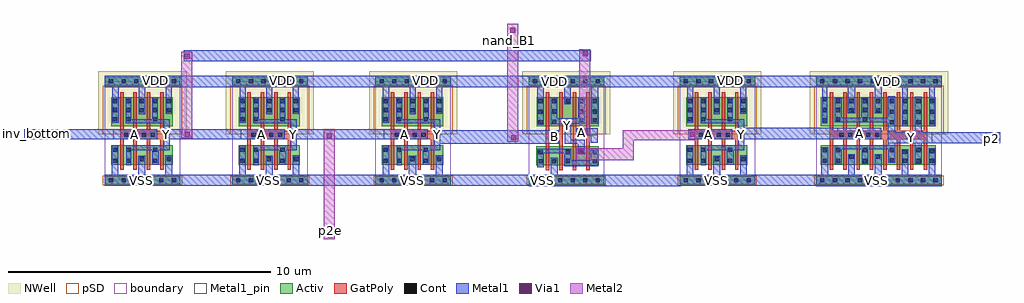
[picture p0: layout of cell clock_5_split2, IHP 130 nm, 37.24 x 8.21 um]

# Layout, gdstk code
import gdstk
lib = gdstk.Library(unit=1e-6, precision=1e-09)
def R(c, l, rs):  # rectangles x0, y0, x1, y1
    for r in rs: c.add(gdstk.rectangle(r[:2], r[2:], *l))
def A(c, l, x, y, w, h, nx, ny, dx, dy):  # array of equal rectangles
    R(c, l, [(x+i*dx, y+j*dy, x+i*dx+w, y+j*dy+h) for i in range(nx) for j in range(ny)])
def P(c, l, *ps):  # polygons
    for p in ps: c.add(gdstk.Polygon(p, *l))
Activ = (1, 0)
GatPoly = (5, 0)
Cont = (6, 0)
Metal1 = (8, 0)
Metal1_pin = (8, 2)
Metal2 = (10, 0)
pSD = (14, 0)
Via1 = (19, 0)
NWell = (31, 0)
boundary = (189, 4)

clock_5_split2 = lib.new_cell('clock_5_split2')
R(clock_5_split2, Activ, [(0,-0.15,2.88,0.15), (4.857,-0.15,7.737,0.15), (10.326,-0.15,13.206,0.15), (16.171,-0.15,19.051,0.15), (21.93,-0.15,24.81,0.15), (27.136,-0.15,31.936,0.15), (16.456,0.575,18.841,1.295), (0.245,0.59,2.585,1.33), (5.102,0.59,7.442,1.33), (10.571,0.59,12.911,1.33), (22.175,0.59,24.515,1.33), (27.321,0.59,31.711,1.33), (0.245,2.06,2.585,3.18), (5.102,2.06,7.442,3.18), (10.571,2.06,12.911,3.18), (16.471,2.06,18.851,3.18), (22.175,2.06,24.515,3.18), (27.321,2.06,31.711,3.18), (0,3.63,2.88,3.93), (4.857,3.63,7.737,3.93), (10.326,3.63,13.206,3.93), (16.171,3.63,19.051,3.93), (21.93,3.63,24.81,3.93), (27.136,3.63,31.936,3.93)])
P(clock_5_split2, GatPoly, [(27.661,0.41),(27.661,3.36),(27.791,3.36),(27.791,1.9),(28.171,1.9),(28.171,3.36),(28.301,3.36),(28.301,1.9),(28.681,1.9),(28.681,3.36),(28.811,3.36),(28.811,1.9),(29.191,1.9),(29.191,3.36),(29.321,3.36),(29.321,1.9),(29.701,1.9),(29.701,3.36),(29.831,3.36),(29.831,1.9),(30.211,1.9),(30.211,3.36),(30.341,3.36),(30.341,1.9),(30.721,1.9),(30.721,3.36),(30.851,3.36),(30.851,1.9),(31.241,1.9),(31.241,3.36),(31.371,3.36),(31.371,0.41),(31.241,0.41),(31.241,1.57),(30.851,1.57),(30.851,0.41),(30.721,0.41),(30.721,1.57),(30.341,1.57),(30.341,0.41),(30.211,0.41),(30.211,1.57),(29.831,1.57),(29.831,0.41),(29.701,0.41),(29.701,1.57),(29.321,1.57),(29.321,0.41),(29.191,0.41),(29.191,1.57),(28.811,1.57),(28.811,0.41),(28.681,0.41),(28.681,1.57),(28.301,1.57),(28.301,0.41),(28.171,0.41),(28.171,1.57),(27.791,1.57),(27.791,0.41)],
  [(17.861,0.395),(17.861,3.36),(17.991,3.36),(17.991,1.99),(18.371,1.99),(18.371,3.36),(18.501,3.36),(18.501,0.395),(18.371,0.395),(18.371,1.685),(17.991,1.685),(17.991,0.395)],
  [(16.831,0.395),(16.831,3.36),(16.961,3.36),(16.961,1.875),(17.341,1.875),(17.341,3.36),(17.471,3.36),(17.471,0.395),(17.341,0.395),(17.341,1.565),(16.961,1.565),(16.961,0.395)],
  [(0.585,0.41),(0.585,3.36),(0.715,3.36),(0.715,1.9),(1.095,1.9),(1.095,3.36),(1.225,3.36),(1.225,1.9),(1.605,1.9),(1.605,3.36),(1.735,3.36),(1.735,1.9),(2.115,1.9),(2.115,3.36),(2.245,3.36),(2.245,0.41),(2.115,0.41),(2.115,1.57),(1.735,1.57),(1.735,0.41),(1.605,0.41),(1.605,1.57),(1.225,1.57),(1.225,0.41),(1.095,0.41),(1.095,1.57),(0.715,1.57),(0.715,0.41)],
  [(5.442,0.41),(5.442,3.36),(5.572,3.36),(5.572,1.9),(5.952,1.9),(5.952,3.36),(6.082,3.36),(6.082,1.9),(6.462,1.9),(6.462,3.36),(6.592,3.36),(6.592,1.9),(6.972,1.9),(6.972,3.36),(7.102,3.36),(7.102,0.41),(6.972,0.41),(6.972,1.57),(6.592,1.57),(6.592,0.41),(6.462,0.41),(6.462,1.57),(6.082,1.57),(6.082,0.41),(5.952,0.41),(5.952,1.57),(5.572,1.57),(5.572,0.41)],
  [(10.911,0.41),(10.911,3.36),(11.041,3.36),(11.041,1.9),(11.421,1.9),(11.421,3.36),(11.551,3.36),(11.551,1.9),(11.931,1.9),(11.931,3.36),(12.061,3.36),(12.061,1.9),(12.441,1.9),(12.441,3.36),(12.571,3.36),(12.571,0.41),(12.441,0.41),(12.441,1.57),(12.061,1.57),(12.061,0.41),(11.931,0.41),(11.931,1.57),(11.551,1.57),(11.551,0.41),(11.421,0.41),(11.421,1.57),(11.041,1.57),(11.041,0.41)],
  [(22.515,0.41),(22.515,3.36),(22.645,3.36),(22.645,1.9),(23.025,1.9),(23.025,3.36),(23.155,3.36),(23.155,1.9),(23.535,1.9),(23.535,3.36),(23.665,3.36),(23.665,1.9),(24.045,1.9),(24.045,3.36),(24.175,3.36),(24.175,0.41),(24.045,0.41),(24.045,1.57),(23.665,1.57),(23.665,0.41),(23.535,0.41),(23.535,1.57),(23.155,1.57),(23.155,0.41),(23.025,0.41),(23.025,1.57),(22.645,1.57),(22.645,0.41)])
A(clock_5_split2, Cont, 0.16, -0.08, 0.16, 0.16, 6, 2, 0.48, 3.78)
A(clock_5_split2, Cont, 5.017, -0.08, 0.16, 0.16, 6, 2, 0.48, 3.78)
A(clock_5_split2, Cont, 10.486, -0.08, 0.16, 0.16, 6, 2, 0.48, 3.78)
A(clock_5_split2, Cont, 16.331, -0.08, 0.16, 0.16, 6, 2, 0.48, 3.78)
A(clock_5_split2, Cont, 22.09, -0.08, 0.16, 0.16, 6, 2, 0.48, 3.78)
A(clock_5_split2, Cont, 27.296, -0.08, 0.16, 0.16, 10, 2, 0.48, 3.78)
A(clock_5_split2, Cont, 27.901, 1.08, 0.16, 0.16, 4, 1, 1.02, 0)
A(clock_5_split2, Cont, 0.735, 1.655, 0.16, 0.16, 4, 1, 0.34, 0)
A(clock_5_split2, Cont, 5.592, 1.655, 0.16, 0.16, 4, 1, 0.34, 0)
A(clock_5_split2, Cont, 11.061, 1.655, 0.16, 0.16, 4, 1, 0.34, 0)
A(clock_5_split2, Cont, 22.665, 1.655, 0.16, 0.16, 4, 1, 0.34, 0)
A(clock_5_split2, Cont, 28.026, 1.655, 0.16, 0.16, 5, 1, 0.34, 0)
A(clock_5_split2, Cont, 29.941, 2.14, 0.16, 0.16, 3, 2, 0.51, 0.4)
A(clock_5_split2, Cont, 17.071, 2.15, 0.16, 0.16, 1, 3, 0, 0.4)
A(clock_5_split2, Cont, 0.315, 2.945, 0.16, 0.16, 5, 1, 0.51, 0)
A(clock_5_split2, Cont, 5.172, 2.945, 0.16, 0.16, 5, 1, 0.51, 0)
A(clock_5_split2, Cont, 10.641, 2.945, 0.16, 0.16, 5, 1, 0.51, 0)
A(clock_5_split2, Cont, 22.245, 2.945, 0.16, 0.16, 5, 1, 0.51, 0)
A(clock_5_split2, Cont, 27.901, 2.945, 0.16, 0.16, 7, 1, 0.51, 0)
R(clock_5_split2, Cont, [(17.071,0.645,17.231,0.805), (16.551,0.65,16.711,0.81), (18.611,0.65,18.771,0.81), (17.581,0.66,17.741,0.82), (0.315,0.665,0.475,0.825), (0.825,0.665,0.985,0.825), (1.845,0.665,2.005,0.825), (5.172,0.665,5.332,0.825), (5.682,0.665,5.842,0.825), (6.702,0.665,6.862,0.825), (10.641,0.665,10.801,0.825), (11.151,0.665,11.311,0.825), (12.171,0.665,12.331,0.825), (22.245,0.665,22.405,0.825), (22.755,0.665,22.915,0.825), (23.775,0.665,23.935,0.825), (30.451,0.665,30.611,0.825), (27.391,0.67,27.551,0.83), (27.901,0.67,28.061,0.83), (28.921,0.67,29.081,0.83), (30.961,0.67,31.121,0.83), (31.481,0.67,31.641,0.83), (29.941,0.675,30.101,0.835), (1.335,0.735,1.495,0.895), (2.355,0.735,2.515,0.895), (6.192,0.735,6.352,0.895), (7.212,0.735,7.372,0.895), (11.661,0.735,11.821,0.895), (12.681,0.735,12.841,0.895), (23.265,0.735,23.425,0.895), (24.285,0.735,24.445,0.895), (28.411,0.815,28.571,0.975), (29.431,0.815,29.591,0.975), (16.546,0.99,16.706,1.15), (18.611,0.99,18.771,1.15), (17.581,1.005,17.741,1.165), (30.451,1.015,30.611,1.175), (31.481,1.025,31.641,1.185), (18.101,1.05,18.261,1.21), (27.391,1.08,27.551,1.24), (0.315,1.09,0.475,1.25), (0.825,1.09,0.985,1.25), (1.845,1.09,2.005,1.25), (5.172,1.09,5.332,1.25), (5.682,1.09,5.842,1.25), (6.702,1.09,6.862,1.25), (10.641,1.09,10.801,1.25), (11.151,1.09,11.311,1.25), (12.171,1.09,12.331,1.25), (22.245,1.09,22.405,1.25), (22.755,1.09,22.915,1.25), (23.775,1.09,23.935,1.25), (17.071,1.64,17.231,1.8), (18.101,1.76,18.261,1.92), (16.541,2.14,16.701,2.3), (31.481,2.14,31.641,2.3), (27.391,2.207,27.551,2.367), (18.101,2.21,18.261,2.37), (18.611,2.21,18.771,2.37), (0.315,2.255,0.475,2.415), (0.825,2.255,0.985,2.415), (1.845,2.255,2.005,2.415), (5.172,2.255,5.332,2.415), (5.682,2.255,5.842,2.415), (6.702,2.255,6.862,2.415), (10.641,2.255,10.801,2.415), (11.151,2.255,11.311,2.415), (12.171,2.255,12.331,2.415), (22.245,2.255,22.405,2.415), (22.755,2.255,22.915,2.415), (23.775,2.255,23.935,2.415), (27.901,2.255,28.061,2.415), (28.921,2.255,29.081,2.415), (16.541,2.54,16.701,2.7), (31.481,2.54,31.641,2.7), (18.101,2.55,18.261,2.71), (18.611,2.55,18.771,2.71), (1.335,2.595,1.495,2.755), (2.355,2.595,2.515,2.755), (6.192,2.595,6.352,2.755), (7.212,2.595,7.372,2.755), (11.661,2.595,11.821,2.755), (12.681,2.595,12.841,2.755), (23.265,2.595,23.425,2.755), (24.285,2.595,24.445,2.755), (28.411,2.595,28.571,2.755), (29.431,2.595,29.591,2.755), (0.315,2.605,0.475,2.765), (0.825,2.605,0.985,2.765), (1.845,2.605,2.005,2.765), (5.172,2.605,5.332,2.765), (5.682,2.605,5.842,2.765), (6.702,2.605,6.862,2.765), (10.641,2.605,10.801,2.765), (11.151,2.605,11.311,2.765), (12.171,2.605,12.331,2.765), (22.245,2.605,22.405,2.765), (22.755,2.605,22.915,2.765), (23.775,2.605,23.935,2.765), (27.901,2.605,28.061,2.765), (28.921,2.605,29.081,2.765), (27.391,2.607,27.551,2.767), (31.481,2.945,31.641,3.105), (16.541,2.95,16.701,3.11), (17.581,2.95,17.741,3.11), (18.101,2.95,18.261,3.11), (18.611,2.95,18.771,3.11), (27.391,3.012,27.551,3.172)])
R(clock_5_split2, Metal1, [(-3.082,1.57,2,1.95), (22.255,1.57,23.93,1.95), (3.005,4.542,18.543,4.955)])
P(clock_5_split2, Metal1, [(30.426,2.055),(30.426,3.56),(29.651,3.56),(29.651,2.56),(29.381,2.56),(29.381,3.56),(28.631,3.56),(28.631,2.565),(28.351,2.565),(28.351,3.56),(27.571,3.56),(27.571,2.185),(27.376,2.185),(27.376,3.56),(24.48,3.56),(24.48,2.54),(24.25,2.54),(24.25,3.56),(23.47,3.56),(23.47,2.53),(23.23,2.53),(23.23,3.56),(22.46,3.56),(22.46,2.19),(22.215,2.19),(22.215,3.56),(18.821,3.56),(18.821,2.16),(18.561,2.16),(18.561,3.56),(17.781,3.56),(17.781,2.9),(17.521,2.9),(17.521,3.56),(16.751,3.56),(16.751,2.125),(16.491,2.125),(16.491,3.56),(12.876,3.56),(12.876,2.54),(12.646,2.54),(12.646,3.56),(11.866,3.56),(11.866,2.53),(11.626,2.53),(11.626,3.56),(10.856,3.56),(10.856,2.19),(10.611,2.19),(10.611,3.56),(7.407,3.56),(7.407,2.54),(7.177,2.54),(7.177,3.56),(6.397,3.56),(6.397,2.53),(6.157,2.53),(6.157,3.56),(5.387,3.56),(5.387,2.19),(5.142,2.19),(5.142,3.56),(2.55,3.56),(2.55,2.54),(2.32,2.54),(2.32,3.56),(1.54,3.56),(1.54,2.53),(1.3,2.53),(1.3,3.56),(0.53,3.56),(0.53,2.19),(0.285,2.19),(0.285,3.56),(0,3.56),(0,4),(31.936,4),(31.936,3.56),(31.666,3.56),(31.666,2.065),(31.456,2.065),(31.456,3.56),(30.636,3.56),(30.636,2.055)],
  [(0.815,0.57),(0.815,1.34),(2.245,1.34),(2.245,2.17),(0.8,2.17),(0.8,3.18),(1.015,3.18),(1.015,2.34),(1.815,2.34),(1.815,3.175),(2.03,3.175),(2.03,2.34),(2.475,2.34),(2.475,1.95),(6.857,1.95),(6.857,1.57),(2.475,1.57),(2.475,1.145),(2.06,1.145),(2.06,0.595),(1.805,0.595),(1.805,1.145),(1.01,1.145),(1.01,0.57)],
  [(5.672,0.57),(5.672,1.34),(7.102,1.34),(7.102,2.17),(5.657,2.17),(5.657,3.18),(5.872,3.18),(5.872,2.34),(6.672,2.34),(6.672,3.175),(6.887,3.175),(6.887,2.34),(7.332,2.34),(7.332,1.95),(12.326,1.95),(12.326,1.57),(7.332,1.57),(7.332,1.145),(6.917,1.145),(6.917,0.595),(6.662,0.595),(6.662,1.145),(5.867,1.145),(5.867,0.57)],
  [(11.141,0.57),(11.141,1.34),(12.571,1.34),(12.571,2.17),(11.126,2.17),(11.126,3.18),(11.341,3.18),(11.341,2.34),(12.141,2.34),(12.141,3.175),(12.356,3.175),(12.356,2.34),(12.801,2.34),(12.801,1.92),(17.321,1.92),(17.321,1.39),(12.801,1.39),(12.801,1.145),(12.386,1.145),(12.386,0.595),(12.131,0.595),(12.131,1.145),(11.336,1.145),(11.336,0.57)],
  [(22.745,0.57),(22.745,1.34),(24.175,1.34),(24.175,2.17),(22.73,2.17),(22.73,3.18),(22.945,3.18),(22.945,2.34),(23.745,2.34),(23.745,3.175),(23.96,3.175),(23.96,2.34),(24.405,2.34),(24.405,2),(29.631,2),(29.631,1.57),(24.405,1.57),(24.405,1.145),(23.99,1.145),(23.99,0.595),(23.735,0.595),(23.735,1.145),(22.94,1.145),(22.94,0.57)],
  [(27.851,0.62),(27.851,1.345),(29.876,1.345),(29.876,2.22),(27.851,2.22),(27.851,3.16),(28.116,3.16),(28.116,2.385),(28.866,2.385),(28.866,3.155),(29.131,3.155),(29.131,2.38),(29.876,2.38),(29.876,3.2),(30.151,3.2),(30.151,1.84),(30.911,1.84),(30.911,3.19),(31.171,3.19),(31.171,1.84),(34.154,1.84),(34.154,1.42),(31.171,1.42),(31.171,0.64),(30.911,0.64),(30.911,1.42),(30.151,1.42),(30.151,0.665),(29.891,0.665),(29.891,1.18),(29.136,1.18),(29.136,0.635),(28.871,0.635),(28.871,1.18),(28.116,1.18),(28.116,0.62)],
  [(18.051,1),(18.051,1.39),(17.551,1.39),(17.551,2.14),(17.011,2.14),(17.011,3.18),(17.271,3.18),(17.271,2.36),(18.061,2.36),(18.061,3.18),(18.321,3.18),(18.321,2.16),(17.791,2.16),(17.791,1.55),(18.311,1.55),(18.311,1)],
  [(18.541,1.44),(18.541,1.73),(17.986,1.73),(17.986,1.98),(18.816,1.98),(18.816,1.44)],
  [(16.171,-0.22),(16.171,-0.21),(0,-0.21),(0,0.21),(0.27,0.21),(0.27,1.325),(0.52,1.325),(0.52,0.21),(1.28,0.21),(1.28,0.945),(1.55,0.945),(1.55,0.22),(2.305,0.22),(2.305,0.95),(2.565,0.95),(2.565,0.21),(5.127,0.21),(5.127,1.325),(5.377,1.325),(5.377,0.21),(6.137,0.21),(6.137,0.945),(6.407,0.945),(6.407,0.22),(7.162,0.22),(7.162,0.95),(7.422,0.95),(7.422,0.21),(10.596,0.21),(10.596,1.325),(10.846,1.325),(10.846,0.21),(11.606,0.21),(11.606,0.945),(11.876,0.945),(11.876,0.22),(12.631,0.22),(12.631,0.95),(12.891,0.95),(12.891,0.21),(16.171,0.21),(16.171,0.22),(17.021,0.22),(17.021,0.855),(17.281,0.855),(17.281,0.22),(21.971,0.22),(21.971,0.21),(22.2,0.21),(22.2,1.325),(22.45,1.325),(22.45,0.21),(23.21,0.21),(23.21,0.945),(23.48,0.945),(23.48,0.22),(24.235,0.22),(24.235,0.95),(24.495,0.95),(24.495,0.21),(27.136,0.21),(27.136,0.22),(27.341,0.22),(27.341,1.27),(27.601,1.27),(27.601,0.22),(28.361,0.22),(28.361,1),(28.621,1),(28.621,0.22),(29.381,0.22),(29.381,0.99),(29.641,0.99),(29.641,0.22),(30.401,0.22),(30.401,1.195),(30.661,1.195),(30.661,0.22),(31.431,0.22),(31.431,1.225),(31.691,1.225),(31.691,0.22),(31.936,0.22),(31.936,-0.22),(27.136,-0.22),(27.136,-0.21),(21.971,-0.21),(21.971,-0.22)],
  [(16.496,0.5),(16.496,1.2),(17.791,1.2),(17.791,0.76),(18.541,0.76),(18.541,1.2),(18.821,1.2),(18.821,0.53),(17.521,0.53),(17.521,1.035),(16.756,1.035),(16.756,0.5)])
R(clock_5_split2, Metal1_pin, [(16.171,-0.22,19.051,0.22), (27.136,-0.22,31.936,0.22), (0,-0.21,2.88,0.21), (4.857,-0.21,7.737,0.21), (10.326,-0.21,13.206,0.21), (21.93,-0.21,24.81,0.21), (2.245,1.145,2.475,2.34), (7.102,1.145,7.332,2.34), (12.571,1.145,12.801,2.34), (24.175,1.145,24.405,2.34), (16.991,1.39,17.321,1.92), (17.551,1.39,17.791,2.36), (29.876,1.42,31.576,1.84), (0.325,1.57,2,1.95), (5.182,1.57,6.857,1.95), (10.651,1.57,12.326,1.95), (22.255,1.57,23.93,1.95), (27.941,1.57,29.631,2), (17.986,1.73,18.816,1.98), (0,3.56,2.88,4), (4.857,3.56,7.737,4), (10.326,3.56,13.206,4), (16.171,3.56,19.051,4), (21.93,3.56,24.81,4), (27.136,3.56,31.936,4)])
R(clock_5_split2, Metal2, [(8.347,-2.24,8.767,1.922), (15.357,1.474,15.777,5.968), (2.917,1.615,3.337,4.915), (18.11,1.702,18.53,5.002)])
P(clock_5_split2, Metal2, [(17.979,0.772),(17.979,1.223),(19.752,1.223),(19.752,1.908),(22.535,1.908),(22.535,1.536),(20.183,1.536),(20.183,0.772)])
R(clock_5_split2, pSD, [(-0.07,-0.18,2.95,0.18), (4.787,-0.18,7.807,0.18), (10.256,-0.18,13.276,0.18), (16.101,-0.18,19.121,0.18), (21.86,-0.18,24.88,0.18), (27.066,-0.18,32.006,0.18), (-0.07,1.76,2.95,3.6), (4.787,1.76,7.807,3.6), (10.256,1.76,13.276,3.6), (16.101,1.76,19.121,3.6), (21.86,1.76,24.88,3.6), (27.066,1.76,32.006,3.6)])
R(clock_5_split2, Via1, [(8.501,-2.187,8.691,-1.997), (18.091,1.004,18.281,1.194), (15.511,1.527,15.701,1.717), (8.472,1.613,8.662,1.803), (22.314,1.659,22.504,1.849), (3.049,1.668,3.239,1.858), (18.242,1.755,18.432,1.945), (3.049,4.645,3.239,4.835), (18.242,4.732,18.432,4.922), (15.47,5.634,15.66,5.824)])
R(clock_5_split2, NWell, [(-0.24,1.75,3.12,4.17), (4.617,1.75,7.977,4.17), (10.086,1.75,13.446,4.17), (15.931,1.75,19.291,4.17), (21.69,1.75,25.05,4.17), (26.896,1.75,32.176,4.17)])
R(clock_5_split2, boundary, [(0,0,2.88,3.78), (4.857,0,7.737,3.78), (10.326,0,13.206,3.78), (16.171,0,19.051,3.78), (21.93,0,24.81,3.78), (27.136,0,31.936,3.78)])
clock_5_split2.add(gdstk.Label('VSS', (29.446,-0.02), layer=8, texttype=25))
clock_5_split2.add(gdstk.Label('VSS', (16.681,0), layer=8, texttype=25))
clock_5_split2.add(gdstk.Label('VSS', (1.405,0.005), layer=8, texttype=25))
clock_5_split2.add(gdstk.Label('VSS', (6.262,0.005), layer=8, texttype=25))
clock_5_split2.add(gdstk.Label('VSS', (11.731,0.005), layer=8, texttype=25))
clock_5_split2.add(gdstk.Label('VSS', (23.335,0.005), layer=8, texttype=25))
clock_5_split2.add(gdstk.Label('B', (17.151,1.655), layer=8, texttype=25))
clock_5_split2.add(gdstk.Label('Y', (30.786,1.64), layer=8, texttype=25))
clock_5_split2.add(gdstk.Label('Y', (2.36,1.755), layer=8, texttype=25))
clock_5_split2.add(gdstk.Label('Y', (7.217,1.755), layer=8, texttype=25))
clock_5_split2.add(gdstk.Label('Y', (12.686,1.755), layer=8, texttype=25))
clock_5_split2.add(gdstk.Label('Y', (24.29,1.755), layer=8, texttype=25))
clock_5_split2.add(gdstk.Label('Y', (17.651,2.105), layer=8, texttype=25))
clock_5_split2.add(gdstk.Label('VDD', (17.141,3.78), layer=8, texttype=25))
clock_5_split2.add(gdstk.Label('VDD', (29.846,3.78), layer=8, texttype=25))
clock_5_split2.add(gdstk.Label('VDD', (1.925,3.8), layer=8, texttype=25))
clock_5_split2.add(gdstk.Label('VDD', (6.782,3.8), layer=8, texttype=25))
clock_5_split2.add(gdstk.Label('VDD', (12.251,3.8), layer=8, texttype=25))
clock_5_split2.add(gdstk.Label('VDD', (23.855,3.8), layer=8, texttype=25))
clock_5_split2.add(gdstk.Label('A', (1.12,1.76), layer=8, texttype=25))
clock_5_split2.add(gdstk.Label('A', (5.977,1.76), layer=8, texttype=25))
clock_5_split2.add(gdstk.Label('A', (11.446,1.76), layer=8, texttype=25))
clock_5_split2.add(gdstk.Label('A', (23.05,1.76), layer=8, texttype=25))
clock_5_split2.add(gdstk.Label('A', (28.781,1.785), layer=8, texttype=25))
clock_5_split2.add(gdstk.Label('A', (18.181,1.84), layer=8, texttype=25))
clock_5_split2.add(gdstk.Label('inv_bottom', (-2.829,1.777), layer=8, texttype=1))
clock_5_split2.add(gdstk.Label('p2', (33.832,1.605), layer=8, texttype=1))
clock_5_split2.add(gdstk.Label('nand_B1', (15.449,5.317), layer=10, texttype=1))
clock_5_split2.add(gdstk.Label('p2e', (8.612,-1.9), layer=10, texttype=1))

lib.write_gds('clock_5_split2.gds')
